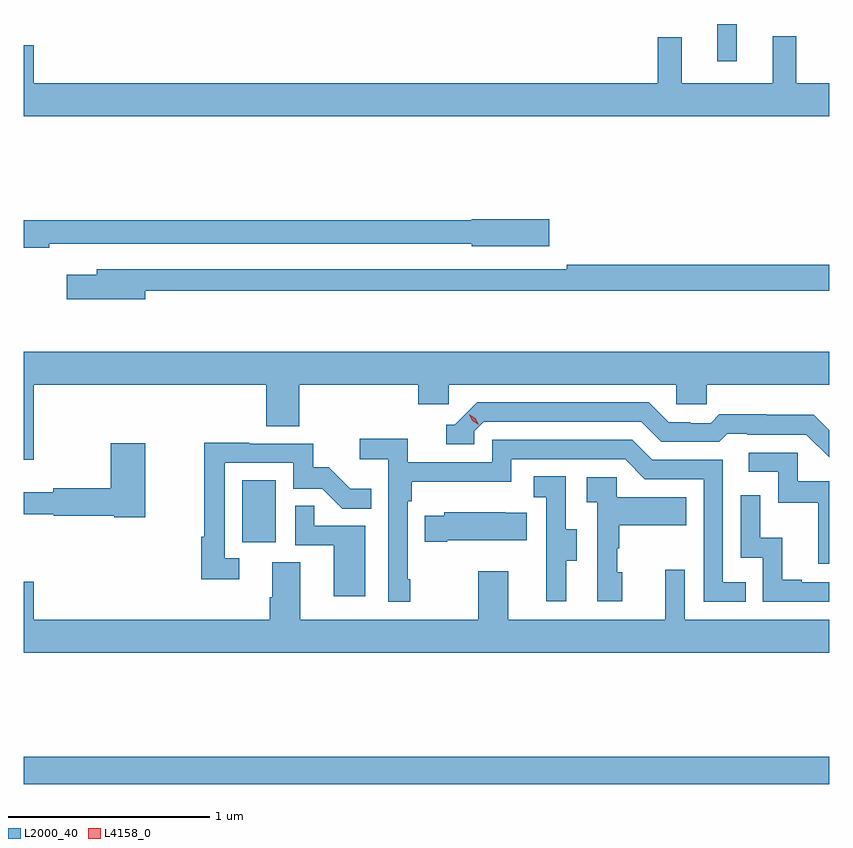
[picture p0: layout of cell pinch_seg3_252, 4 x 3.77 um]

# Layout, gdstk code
import gdstk
lib = gdstk.Library(unit=1e-6, precision=1e-09)
def R(c, l, rs):  # rectangles x0, y0, x1, y1
    for r in rs: c.add(gdstk.rectangle(r[:2], r[2:], *l))
def P(c, l, *ps):  # polygons
    for p in ps: c.add(gdstk.Polygon(p, *l))
L2000_40 = (2000, 40)
L4158_0 = (4158, 0)

pinch_seg3_252 = lib.new_cell('pinch_seg3_252')
R(pinch_seg3_252, L2000_40, [(944.342,717.58,948.342,717.716), (945.428,718.782,945.592,719.089), (947.787,721.17,947.884,721.355)])
P(pinch_seg3_252, L2000_40, [(948.342,721.06),(948.179,721.06),(948.179,721.294),(948.062,721.294),(948.062,721.06),(947.609,721.06),(947.609,721.288),(947.491,721.288),(947.491,721.06),(944.392,721.06),(944.392,721.249),(944.342,721.249),(944.342,720.896),(948.342,720.896)],
  [(944.468,720.264),(946.566,720.264),(946.566,720.251),(946.951,720.251),(946.951,720.386),(946.566,720.386),(946.566,720.38),(944.342,720.38),(944.342,720.244),(944.468,720.244)],
  [(944.944,720.03),(948.342,720.03),(948.342,720.158),(947.038,720.158),(947.038,720.138),(944.705,720.138),(944.705,720.109),(944.556,720.109),(944.556,719.987),(944.944,719.987)],
  [(944.392,719.564),(945.545,719.564),(945.545,719.356),(945.71,719.356),(945.71,719.564),(946.301,719.564),(946.301,719.466),(946.452,719.466),(946.452,719.564),(947.583,719.564),(947.583,719.466),(947.733,719.466),(947.733,719.564),(948.342,719.564),(948.342,719.728),(944.342,719.728),(944.342,719.19),(944.392,719.19)],
  [(948.342,719.337),(948.266,719.413),(948.03,719.413),(948.03,719.416),(947.797,719.416),(947.755,719.373),(947.652,719.373),(947.652,719.376),(947.545,719.376),(947.446,719.475),(946.593,719.475),(946.482,719.364),(946.439,719.364),(946.439,719.268),(946.578,719.268),(946.578,719.331),(946.626,719.379),(947.409,719.379),(947.508,719.28),(947.797,719.28),(947.836,719.319),(947.935,719.319),(947.935,719.316),(948.228,719.316),(948.342,719.202)],
  [(946.261,718.597),(946.248,718.597),(946.248,718.985),(946.268,718.985),(946.268,719.081),(946.764,719.081),(946.764,719.193),(947.328,719.193),(947.427,719.094),(947.718,719.094),(947.718,718.485),(947.927,718.485),(947.927,718.581),(947.814,718.581),(947.814,719.19),(947.464,719.19),(947.365,719.289),(946.668,719.289),(946.668,719.178),(946.25,719.178),(946.25,719.294),(946.011,719.294),(946.011,719.192),(946.152,719.192),(946.152,718.485),(946.261,718.485)],
  [(945.412,718.701),(945.339,718.701),(945.339,719.175),(945.681,719.175),(945.681,719.046),(945.825,719.046),(945.923,718.948),(946.067,718.948),(946.067,719.047),(945.963,719.047),(945.856,719.154),(945.78,719.154),(945.78,719.271),(945.461,719.271),(945.461,719.276),(945.238,719.276),(945.238,718.808),(945.223,718.808),(945.223,718.596),(945.412,718.596)],
  [(944.944,719.272),(944.774,719.272),(944.774,719.048),(944.488,719.048),(944.488,719.029),(944.342,719.029),(944.342,718.92),(944.49,718.92),(944.49,718.912),(944.79,718.912),(944.79,718.904),(944.944,718.904)],
  [(948.342,719.085),(948.186,719.085),(948.186,719.226),(947.943,719.226),(947.943,719.13),(948.09,719.13),(948.09,718.977),(948.289,718.977),(948.289,718.674),(948.342,718.674)],
  [(947.035,718.69),(947.089,718.69),(947.089,718.845),(947.034,718.845),(947.034,719.108),(946.875,719.108),(946.875,719.005),(946.938,719.005),(946.938,718.701),(946.937,718.701),(946.937,718.488),(947.035,718.488)],
  [(947.314,718.632),(947.289,718.632),(947.289,718.751),(947.299,718.751),(947.299,718.865),(947.633,718.865),(947.633,719.005),(947.286,719.005),(947.286,719.103),(947.139,719.103),(947.139,718.979),(947.19,718.979),(947.19,718.488),(947.314,718.488)],
  [(948.342,718.581),(948.205,718.581),(948.205,718.594),(948.11,718.594),(948.11,718.802),(948,718.802),(948,719.014),(947.904,719.014),(947.904,718.704),(948.012,718.704),(948.012,718.485),(948.342,718.485)],
  [(946.039,718.863),(945.785,718.863),(945.785,718.961),(945.69,718.961),(945.69,718.767),(945.881,718.767),(945.881,718.512),(946.039,718.512)],
  [(946.444,718.79),(946.841,718.79),(946.841,718.927),(946.733,718.927),(946.733,718.93),(946.431,718.93),(946.431,718.912),(946.333,718.912),(946.333,718.783),(946.444,718.783)],
  [(948.342,718.396),(947.625,718.396),(947.625,718.645),(947.528,718.645),(947.528,718.396),(946.747,718.396),(946.747,718.636),(946.6,718.636),(946.6,718.396),(945.715,718.396),(945.715,718.682),(945.575,718.682),(945.575,718.508),(945.563,718.508),(945.563,718.396),(944.392,718.396),(944.392,718.585),(944.342,718.585),(944.342,718.232),(948.342,718.232)])
P(pinch_seg3_252, L4158_0, [(946.601,719.364),(946.57,719.384),(946.554,719.416),(946.554,719.416),(946.554,719.416),(946.585,719.397),(946.601,719.364),(946.601,719.364)])

lib.write_gds('pinch_seg3_252.gds')
